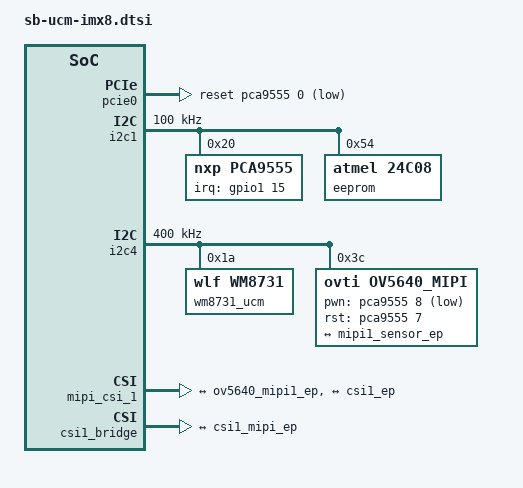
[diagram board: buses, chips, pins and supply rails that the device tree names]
/*
 * Copyright (C) 2018 CopuLab Ltd.
 *
 * This program is free software; you can redistribute it and/or
 * modify it under the terms of the GNU General Public License
 * as published by the Free Software Foundation; either version 2
 * of the License, or (at your option) any later version.
 *
 * This program is distributed in the hope that it will be useful,
 * but WITHOUT ANY WARRANTY; without even the implied warranty of
 * MERCHANTABILITY or FITNESS FOR A PARTICULAR PURPOSE.  See the
 * GNU General Public License for more details.
 */

&iomuxc {
	sb-ucm-imx8 {
		pinctrl_pca95xx: pca95xx {
			fsl,pins = <
		        MX8MQ_IOMUXC_GPIO1_IO15_GPIO1_IO15 0x16
			>;
		};
		touchscreen_pins: touchscreen-pins {
			fsl,pins = <
				MX8MQ_IOMUXC_UART2_TXD_GPIO5_IO25 0x17059
			>;
		};
    };
};

&pcie0 {
	reset-gpio = <&pca9555 0 GPIO_ACTIVE_LOW>;
	status = "okay";
};

&i2c1 {
	clock-frequency = <100000>;
	pinctrl-names = "default";
	pinctrl-0 = <&pinctrl_i2c1>;
	status = "okay";

	pca9555:pca9555@20 {
		pinctrl-names = "default";
		pinctrl-0 = <&pinctrl_pca95xx>;
		compatible = "nxp,pca9555";
		/* Role #0 */
		gpio-controller;
		#gpio-cells = <2>;
		/* Role #1 */
		interrupt-parent = <&gpio1>;
		interrupts = <15 0x1>;
		interrupt-controller;
		#interrupt-cells = <2>;
		/* Bus address */
		reg = <0x20>;
	};

	eeprom@54 {
		compatible = "atmel,24c08";
		reg = <0x54>;
		pagesize = <16>;
	};
};

&pwm2 {
    status = "disabled";
};

sbc_i2c_lvds: &i2c4 {
    clock-frequency = <400000>;
    pinctrl-names = "default";
    pinctrl-0 = <&pinctrl_i2c4>;
    status = "okay";

	wm8731_ucm: wm8731@1a {
		#sound-dai-cells = <0>;
		compatible = "wlf,wm8731";
		reg = <0x1a>;
		status = "okay";
	};

	ov5640_mipi: ov5640_mipi@3c {
		compatible = "ovti,ov5640_mipi";
		reg = <0x3c>;
		status = "okay";
		clocks = <&clk IMX8MQ_CLK_CLKO2>;
		clock-names = "csi_mclk";
		assigned-clocks = <&clk IMX8MQ_CLK_CLKO2>;
		assigned-clock-parents = <&clk IMX8MQ_SYS2_PLL_200M>;
		assigned-clock-rates = <0>, <25000000>;
		csi_id = <0>;
		pwn-gpios = <&pca9555 8 GPIO_ACTIVE_LOW>;
		rst-gpios = <&pca9555 7 GPIO_ACTIVE_HIGH>;
		mclk = <25000000>;
		mclk_source = <0>;
		port {
		    ov5640_mipi1_ep: endpoint {
			remote-endpoint = <&mipi1_sensor_ep>;
		    };
		};
	};
};

&sound_codec {
    sound-dai = <&wm8731_ucm>;
};

&mipi_csi_1 {
    #address-cells = <1>;
    #size-cells = <0>;
    status = "okay";
    port {
        mipi1_sensor_ep: endpoint1 {
            remote-endpoint = <&ov5640_mipi1_ep>;
            data-lanes = <1 2>;
        };

        csi1_mipi_ep: endpoint2 {
            remote-endpoint = <&csi1_ep>;
        };
    };
};

&csi1_bridge {
    fsl,mipi-mode;
    fsl,two-8bit-sensor-mode;
    status = "okay";

    port {
        csi1_ep: endpoint {
            remote-endpoint = <&csi1_mipi_ep>;
        };
    };
};
